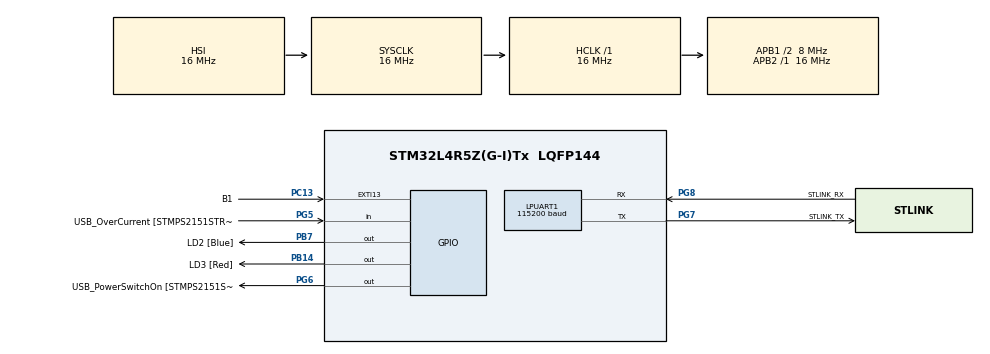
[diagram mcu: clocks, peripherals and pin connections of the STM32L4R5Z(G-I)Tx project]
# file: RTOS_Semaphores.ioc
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LPUART1.BaudRate=115200
LPUART1.WordLength=UART_WORDLENGTH_8B
Mcu.Family=STM32L4
Mcu.Name=STM32L4R5Z(G-I)Tx
Mcu.Package=LQFP144
NVIC.PriorityGroup=NVIC_PRIORITYGROUP_4
NVIC.TIM1_UP_TIM16_IRQn=true\:15\:0\:false\:false\:true\:false\:true\:true
NVIC.TimeBase=TIM1_UP_TIM16_IRQn
NVIC.TimeBaseIP=TIM1
PA10.GPIO_Label=USB_ID
PA10.Signal=USB_OTG_FS_ID
PA11.GPIO_Label=USB_DM
PA11.Signal=USB_OTG_FS_DM
PA12.GPIO_Label=USB_DP
PA12.Signal=USB_OTG_FS_DP
PA13\ (JTMS/SWDIO).GPIO_Label=TMS
PA13\ (JTMS/SWDIO).Mode=Serial_Wire
PA13\ (JTMS/SWDIO).Signal=SYS_JTMS-SWDIO
PA14\ (JTCK/SWCLK).GPIO_Label=TCK
PA14\ (JTCK/SWCLK).Mode=Serial_Wire
PA14\ (JTCK/SWCLK).Signal=SYS_JTCK-SWCLK
PA8.GPIO_Label=USB_SOF [TP1]
PA8.Signal=USB_OTG_FS_SOF
PA9.GPIO_Label=USB_VBUS
PA9.Signal=USB_OTG_FS_VBUS
PB14.GPIO_Label=LD3 [Red]
PB14.Signal=GPIO_Output
PB3\ (JTDO/TRACESWO).GPIO_Label=SWO
PB3\ (JTDO/TRACESWO).Signal=SYS_JTDO-SWO
PB7.GPIO_Label=LD2 [Blue]
PB7.Signal=GPIO_Output
PC13.GPIO_Label=B1
PC13.Signal=GPXTI13
PC14-OSC32_IN\ (PC14).Mode=LSE-External-Oscillator
PC14-OSC32_IN\ (PC14).Signal=RCC_OSC32_IN
PC15-OSC32_OUT\ (PC15).Mode=LSE-External-Oscillator
PC15-OSC32_OUT\ (PC15).Signal=RCC_OSC32_OUT
PD8.GPIO_Label=STLK_RX [STM32F103CBT6_PA3]
PD8.Signal=USART3_TX
PD9.GPIO_Label=STLK_TX [STM32F103CBT6_PA2]
PD9.Signal=USART3_RX
PG5.GPIO_Label=USB_OverCurrent [STMPS2151STR_FAULT]
PG5.Signal=GPIO_Input
PG6.GPIO_Label=USB_PowerSwitchOn [STMPS2151STR_En]
PG6.Signal=GPIO_Output
PG7.GPIO_Label=STLINK_TX
PG7.Mode=Asynchronous
PG7.Signal=LPUART1_TX
PG8.GPIO_Label=STLINK_RX
PG8.Mode=Asynchronous
PG8.Signal=LPUART1_RX
PH0-OSC_IN\ (PH0).Mode=HSE-External-Clock-Source
PH0-OSC_IN\ (PH0).Signal=RCC_OSC_IN
PH1-OSC_OUT\ (PH1).Signal=RCC_OSC_OUT
ProjectManager.HeapSize=0x200
ProjectManager.StackSize=0x400
ProjectManager.TargetToolchain=STM32CubeIDE
RCC.48MHZClocksFreq_Value=24000000
RCC.ADCFreq_Value=32000000
RCC.AHBFreq_Value=16000000
RCC.APB1CLKDivider=RCC_HCLK_DIV2
RCC.APB1Freq_Value=8000000
RCC.APB1TimFreq_Value=16000000
RCC.APB2Freq_Value=16000000
RCC.APB2TimFreq_Value=16000000
RCC.CortexFreq_Value=16000000
RCC.HCLKFreq_Value=16000000
RCC.HSE_VALUE=8000000
RCC.HSI48_VALUE=48000000
RCC.HSI_VALUE=16000000
RCC.MSIClockRange=RCC_MSIRANGE_8
RCC.MSI_VALUE=16000000
RCC.PLLMUL=RCC_PLL_MUL9
RCC.PLLSourceVirtual=RCC_PLLSOURCE_HSE
RCC.PRESCALERUSB=RCC_USBCLKSOURCE_PLL_DIV1_5
RCC.SYSCLKFreq_VALUE=16000000
RCC.SYSCLKSource=RCC_SYSCLKSOURCE_HSI
RCC.SYSCLKSourceVirtual=RCC_SYSCLKSOURCE_PLLCLK
RCC.USBFreq_Value=32000000
RCC.VCOOutputFreq_Value=64000000
VP_SYS_VS_tim1.Mode=TIM1
board=NUCLEO-L4R5ZI

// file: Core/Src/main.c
/* USER CODE BEGIN Header */
/**
  ******************************************************************************
  * @file           : main.c
  * @brief          : Main program body
  ******************************************************************************
  * @attention
  *
  * Copyright (c) 2024 STMicroelectronics.
  * All rights reserved.
  *
  * This software is licensed under terms that can be found in the LICENSE file
  * in the root directory of this software component.
  * If no LICENSE file comes with this software, it is provided AS-IS.
  *
  ******************************************************************************
  */
/* USER CODE END Header */
#include "main.h"

/* USER CODE BEGIN Includes */
#include "FreeRTOS.h"
#include "task.h"
#include "semphr.h"
#include "string.h"
/* USER CODE END Includes */

UART_HandleTypeDef hlpuart1;

/* USER CODE BEGIN PV */
SemaphoreHandle_t binSem;

uint32_t count;
/* USER CODE END PV */

void SystemClock_Config(void);
static void MX_GPIO_Init(void);
static void MX_LPUART1_UART_Init(void);

/* USER CODE BEGIN 0 */
void send_uart(char *data)
{
	xSemaphoreTake(binSem,portMAX_DELAY);

	HAL_Delay(5000);

	HAL_UART_Transmit(&hlpuart1, (uint8_t*)data, strlen(data), portMAX_DELAY);

	xSemaphoreGive(binSem);
}
void HPT_Task(void *params)
{
	char tosend[] = "IN HPT task\n\r";
	while(1)
	{
		uint8_t pData[] = "Entered HPT task waiting for semaphore\n\r";
		HAL_UART_Transmit(&hlpuart1, pData, sizeof(pData), portMAX_DELAY);

		send_uart(tosend);

		uint8_t pData1[] = "Leaving HPT task\n\r";
		HAL_UART_Transmit(&hlpuart1, pData1, sizeof(pData1), portMAX_DELAY);

		vTaskDelay(pdMS_TO_TICKS(750));
	}
}

void MPT_Task(void *params)
{
	char tosend[] = "IN MPT task \n\r";
	while(1)
	{
//		uint8_t pData[] = "Entered MPT task waiting for semaphore\n\r";
//		HAL_UART_Transmit(&hlpuart1, pData, sizeof(pData), 100);

//		send_uart(tosend);

//		uint8_t pData1[] = "Leaving MPT task\n\r";
		HAL_UART_Transmit(&hlpuart1, (uint8_t*)tosend, sizeof(tosend), portMAX_DELAY);

		vTaskDelay(pdMS_TO_TICKS(2000));
	}
}

void LPT_Task(void *params)
{
	char tosend[] = "IN LPT task\n\r";
	while(1)
	{
		uint8_t pData[] = "Entered LPT task waiting for semaphore\n\r";
		HAL_UART_Transmit(&hlpuart1, pData, sizeof(pData), portMAX_DELAY);

		send_uart(tosend);

		uint8_t pData1[] = "Leaving LPT task\n\r";
		HAL_UART_Transmit(&hlpuart1, pData1, sizeof(pData1), portMAX_DELAY);

		vTaskDelay(pdMS_TO_TICKS(1000));
	}
}
/* USER CODE END 0 */

int main(void)
{

  /* MCU Configuration--------------------------------------------------------*/

  /* Reset of all peripherals, Initializes the Flash interface and the Systick. */
  HAL_Init();

  /* Configure the system clock */
  SystemClock_Config();

  /* Initialize all configured peripherals */
  MX_GPIO_Init();
  MX_LPUART1_UART_Init();
  /* USER CODE BEGIN 2 */
   binSem = xSemaphoreCreateBinary();
   if(binSem != NULL)
   {
 	  xSemaphoreGive(binSem);
 	  xTaskCreate(HPT_Task, "task1", 128, NULL, 3, NULL);
 	  xTaskCreate(MPT_Task, "task2", 128, NULL, 2, NULL);
 	  xTaskCreate(LPT_Task, "task3", 128, NULL, 1, NULL);

 	  vTaskStartScheduler();
   }
   else
   {
 	  uint8_t str[]= "failed to create mutex\n\r";
 	  HAL_UART_Transmit(&hlpuart1, str, sizeof(str), 100);
   }
  /* USER CODE END 2 */

  /* Infinite loop */
  while (1)
  {
	  HAL_GPIO_TogglePin(LD2_GPIO_Port, LD2_Pin);
  }
}

void SystemClock_Config(void)
{
  RCC_OscInitTypeDef RCC_OscInitStruct = {0};
  RCC_ClkInitTypeDef RCC_ClkInitStruct = {0};

  /** Configure the main internal regulator output voltage
  */
  if (HAL_PWREx_ControlVoltageScaling(PWR_REGULATOR_VOLTAGE_SCALE1) != HAL_OK)
  {
    Error_Handler();
  }

  /** Initializes the RCC Oscillators according to the specified parameters
  * in the RCC_OscInitTypeDef structure.
  */
  RCC_OscInitStruct.OscillatorType = RCC_OSCILLATORTYPE_HSI;
  RCC_OscInitStruct.HSIState = RCC_HSI_ON;
  RCC_OscInitStruct.HSICalibrationValue = RCC_HSICALIBRATION_DEFAULT;
  RCC_OscInitStruct.PLL.PLLState = RCC_PLL_NONE;
  if (HAL_RCC_OscConfig(&RCC_OscInitStruct) != HAL_OK)
  {
    Error_Handler();
  }

  /** Initializes the CPU, AHB and APB buses clocks
  */
  RCC_ClkInitStruct.ClockType = RCC_CLOCKTYPE_HCLK|RCC_CLOCKTYPE_SYSCLK
                              |RCC_CLOCKTYPE_PCLK1|RCC_CLOCKTYPE_PCLK2;
  RCC_ClkInitStruct.SYSCLKSource = RCC_SYSCLKSOURCE_HSI;
  RCC_ClkInitStruct.AHBCLKDivider = RCC_SYSCLK_DIV1;
  RCC_ClkInitStruct.APB1CLKDivider = RCC_HCLK_DIV2;
  RCC_ClkInitStruct.APB2CLKDivider = RCC_HCLK_DIV1;

  if (HAL_RCC_ClockConfig(&RCC_ClkInitStruct, FLASH_LATENCY_0) != HAL_OK)
  {
    Error_Handler();
  }
}

static void MX_LPUART1_UART_Init(void)
{

  hlpuart1.Instance = LPUART1;
  hlpuart1.Init.BaudRate = 115200;
  hlpuart1.Init.WordLength = UART_WORDLENGTH_8B;
  hlpuart1.Init.StopBits = UART_STOPBITS_1;
  hlpuart1.Init.Parity = UART_PARITY_NONE;
  hlpuart1.Init.Mode = UART_MODE_TX_RX;
  hlpuart1.Init.HwFlowCtl = UART_HWCONTROL_NONE;
  hlpuart1.Init.OneBitSampling = UART_ONE_BIT_SAMPLE_DISABLE;
  hlpuart1.Init.ClockPrescaler = UART_PRESCALER_DIV1;
  hlpuart1.AdvancedInit.AdvFeatureInit = UART_ADVFEATURE_NO_INIT;
  hlpuart1.FifoMode = UART_FIFOMODE_DISABLE;
  if (HAL_UART_Init(&hlpuart1) != HAL_OK)
  {
    Error_Handler();
  }
  if (HAL_UARTEx_SetTxFifoThreshold(&hlpuart1, UART_TXFIFO_THRESHOLD_1_8) != HAL_OK)
  {
    Error_Handler();
  }
  if (HAL_UARTEx_SetRxFifoThreshold(&hlpuart1, UART_RXFIFO_THRESHOLD_1_8) != HAL_OK)
  {
    Error_Handler();
  }
  if (HAL_UARTEx_DisableFifoMode(&hlpuart1) != HAL_OK)
  {
    Error_Handler();
  }

}

static void MX_GPIO_Init(void)
{
  GPIO_InitTypeDef GPIO_InitStruct = {0};

  /* GPIO Ports Clock Enable */
  __HAL_RCC_GPIOC_CLK_ENABLE();
  __HAL_RCC_GPIOH_CLK_ENABLE();
  __HAL_RCC_GPIOB_CLK_ENABLE();
  __HAL_RCC_GPIOD_CLK_ENABLE();
  __HAL_RCC_GPIOG_CLK_ENABLE();
  HAL_PWREx_EnableVddIO2();
  __HAL_RCC_GPIOA_CLK_ENABLE();

  /*Configure GPIO pin Output Level */
  HAL_GPIO_WritePin(GPIOB, LD3_Pin|LD2_Pin, GPIO_PIN_RESET);

  /*Configure GPIO pin Output Level */
  HAL_GPIO_WritePin(USB_PowerSwitchOn_GPIO_Port, USB_PowerSwitchOn_Pin, GPIO_PIN_RESET);

  /*Configure GPIO pin : B1_Pin */
  GPIO_InitStruct.Pin = B1_Pin;
  GPIO_InitStruct.Mode = GPIO_MODE_IT_RISING;
  GPIO_InitStruct.Pull = GPIO_NOPULL;
  HAL_GPIO_Init(B1_GPIO_Port, &GPIO_InitStruct);

  /*Configure GPIO pins : LD3_Pin LD2_Pin */
  GPIO_InitStruct.Pin = LD3_Pin|LD2_Pin;
  GPIO_InitStruct.Mode = GPIO_MODE_OUTPUT_PP;
  GPIO_InitStruct.Pull = GPIO_NOPULL;
  GPIO_InitStruct.Speed = GPIO_SPEED_FREQ_LOW;
  HAL_GPIO_Init(GPIOB, &GPIO_InitStruct);

  /*Configure GPIO pins : STLK_RX_Pin STLK_TX_Pin */
  GPIO_InitStruct.Pin = STLK_RX_Pin|STLK_TX_Pin;
  GPIO_InitStruct.Mode = GPIO_MODE_AF_PP;
  GPIO_InitStruct.Pull = GPIO_NOPULL;
  GPIO_InitStruct.Speed = GPIO_SPEED_FREQ_VERY_HIGH;
  GPIO_InitStruct.Alternate = GPIO_AF7_USART3;
  HAL_GPIO_Init(GPIOD, &GPIO_InitStruct);

  /*Configure GPIO pin : USB_OverCurrent_Pin */
  GPIO_InitStruct.Pin = USB_OverCurrent_Pin;
  GPIO_InitStruct.Mode = GPIO_MODE_INPUT;
  GPIO_InitStruct.Pull = GPIO_NOPULL;
  HAL_GPIO_Init(USB_OverCurrent_GPIO_Port, &GPIO_InitStruct);

  /*Configure GPIO pin : USB_PowerSwitchOn_Pin */
  GPIO_InitStruct.Pin = USB_PowerSwitchOn_Pin;
  GPIO_InitStruct.Mode = GPIO_MODE_OUTPUT_PP;
  GPIO_InitStruct.Pull = GPIO_NOPULL;
  GPIO_InitStruct.Speed = GPIO_SPEED_FREQ_LOW;
  HAL_GPIO_Init(USB_PowerSwitchOn_GPIO_Port, &GPIO_InitStruct);

  /*Configure GPIO pins : USB_SOF_Pin USB_ID_Pin USB_DM_Pin USB_DP_Pin */
  GPIO_InitStruct.Pin = USB_SOF_Pin|USB_ID_Pin|USB_DM_Pin|USB_DP_Pin;
  GPIO_InitStruct.Mode = GPIO_MODE_AF_PP;
  GPIO_InitStruct.Pull = GPIO_NOPULL;
  GPIO_InitStruct.Speed = GPIO_SPEED_FREQ_VERY_HIGH;
  GPIO_InitStruct.Alternate = GPIO_AF10_OTG_FS;
  HAL_GPIO_Init(GPIOA, &GPIO_InitStruct);

  /*Configure GPIO pin : USB_VBUS_Pin */
  GPIO_InitStruct.Pin = USB_VBUS_Pin;
  GPIO_InitStruct.Mode = GPIO_MODE_INPUT;
  GPIO_InitStruct.Pull = GPIO_NOPULL;
  HAL_GPIO_Init(USB_VBUS_GPIO_Port, &GPIO_InitStruct);

}

void HAL_TIM_PeriodElapsedCallback(TIM_HandleTypeDef *htim)
{
  if (htim->Instance == TIM1) {
    HAL_IncTick();
  }
}

void Error_Handler(void)
{
  __disable_irq();
  while (1)
  {
  }
}
